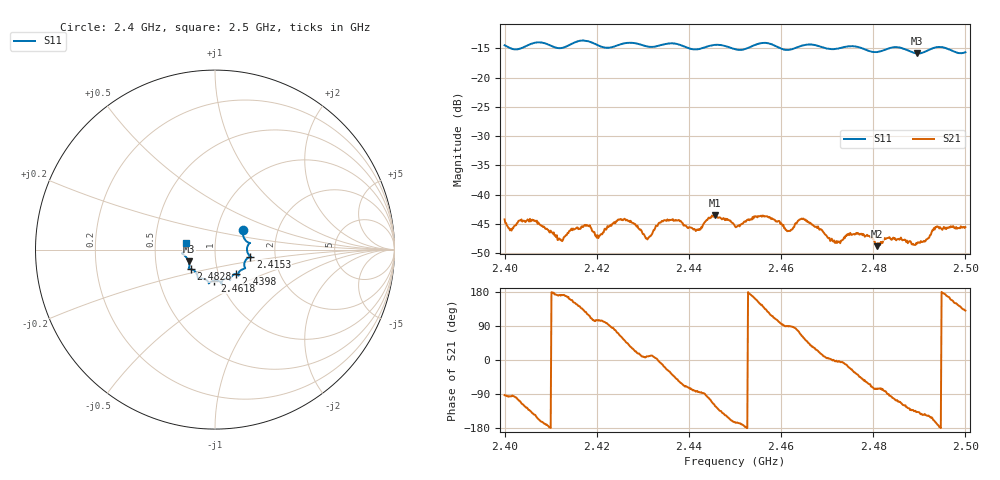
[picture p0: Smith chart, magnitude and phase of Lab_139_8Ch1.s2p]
# Hz S RI R 50
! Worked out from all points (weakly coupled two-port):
!   601 points, 2.4 GHz to 2.5 GHz, reference 50 ohm
!   highest |S21| = -43.49 dB at 2.4457 GHz (marker M1); lowest = -48.8 dB at 2.4808 GHz (marker M2)
!   lowest |S11| = -15.9 dB at 2.4895 GHz (marker M3), VSWR 1.38, Z = 37 - j5.02 ohm
!   |S11| at or under -10 dB: start of sweep to end of sweep
!   S12 and S22 are empty: the file has one direction only
!   S11 on the Smith chart (normalised r, x): 2.4 GHz: 1.33, +0.29; 2.4153 GHz: 1.48, -0.12; 2.4398 GHz: 1.21, -0.34; 2.4618 GHz: 0.94, -0.33; 2.4828 GHz: 0.74, -0.17; 2.5 GHz: 0.72, +0.06
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2.4e9  0.1555 0.1068  -0.00029 -0.00616  0 0  0 0
2.4065e9  0.1943 0.0373  -0.00486 -0.00349  0 0  0 0
2.412e9  0.1781 4.11e-05  -0.00411 0.00059  0 0  0 0
2.415333e9  0.1964 -0.039  -0.00445 0.00255  0 0  0 0
2.416667e9  0.2023 -0.0431  -0.00387 0.0037  0 0  0 0
2.420167e9  0.1835 -0.0464  -0.00119 0.00437  0 0  0 0
2.426167e9  0.1678 -0.1022  0.00398 0.00474  0 0  0 0
2.431e9  0.1428 -0.1156  0.0041 0.000693  0 0  0 0
2.433333e9  0.1298 -0.134  0.00563 -0.000171  0 0  0 0
2.439833e9  0.1155 -0.136  0.00156 -0.00495  0 0  0 0
2.445667e9  0.0839 -0.1705  -0.0035 -0.0057  0 0  0 0
2.45e9  0.0651 -0.1621  -0.00518 -0.0015  0 0  0 0
2.4565e9  0.0389 -0.1936  -0.00459 0.00467  0 0  0 0
2.461833e9  -0.0033 -0.1727  3.32e-05 0.00492  0 0  0 0
2.466667e9  -0.0346 -0.1879  0.00454 0.00323  0 0  0 0
2.471667e9  -0.0663 -0.1621  0.00389 -0.000222  0 0  0 0
2.480833e9  -0.117 -0.1162  0.000938 -0.00352  0 0  0 0
2.482833e9  -0.1363 -0.1086  0.000367 -0.00422  0 0  0 0
2.483333e9  -0.1401 -0.1085  1.71e-05 -0.0043  0 0  0 0
2.4895e9  -0.1461 -0.0662  -0.0028 -0.00261  0 0  0 0
2.493667e9  -0.1798 -0.0234  -0.00513 -0.00126  0 0  0 0
2.5e9  -0.1596 0.039  -0.00344 0.00403  0 0  0 0
